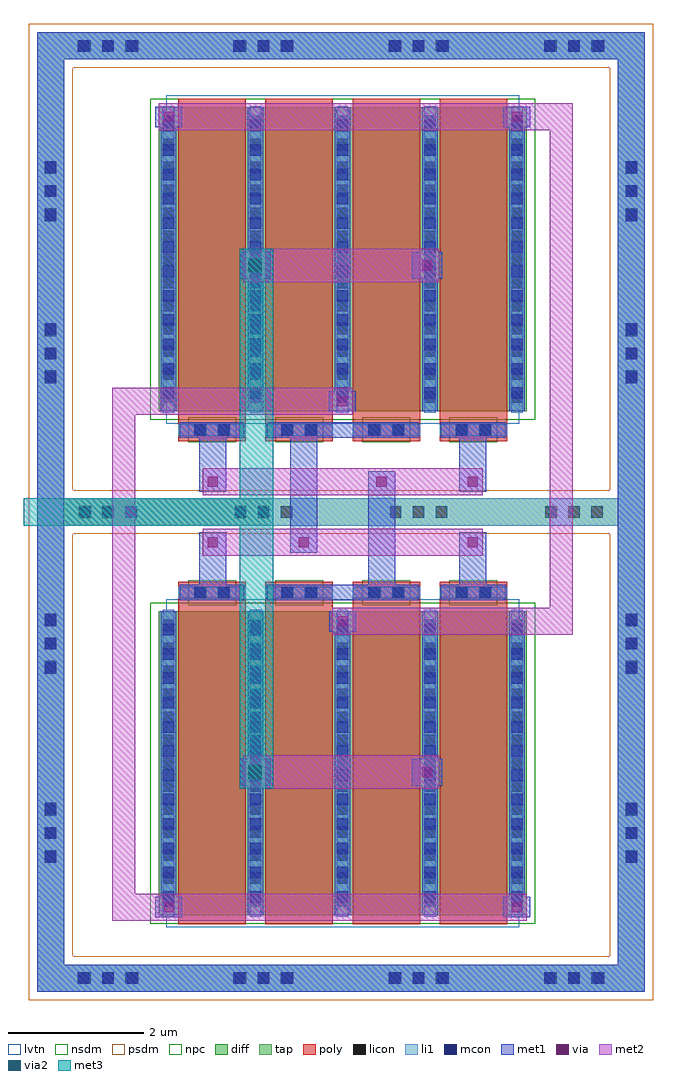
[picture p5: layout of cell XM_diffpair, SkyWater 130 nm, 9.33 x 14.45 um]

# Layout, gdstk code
import gdstk
lib = gdstk.Library(unit=1e-6, precision=1e-09)
def R(c, l, rs):  # rectangles x0, y0, x1, y1
    for r in rs: c.add(gdstk.rectangle(r[:2], r[2:], *l))
def A(c, l, x, y, w, h, nx, ny, dx, dy):  # array of equal rectangles
    R(c, l, [(x+i*dx, y+j*dy, x+i*dx+w, y+j*dy+h) for i in range(nx) for j in range(ny)])
diff = (65, 20)
tap = (65, 44)
poly = (66, 20)
licon = (66, 44)
li1 = (67, 20)
mcon = (67, 44)
met1 = (68, 20)
via = (68, 44)
met2 = (69, 20)
via2 = (69, 44)
met3 = (70, 20)
nsdm = (93, 44)
psdm = (94, 20)
npc = (95, 20)
lvtn = (125, 44)

sky130_fd_pr__nfet_01v8_ = lib.new_cell('sky130_fd_pr__nfet_01v8_lvt_E96B6C')
R(sky130_fd_pr__nfet_01v8_, diff, [(-2.725,-2.095,2.725,2.405)])
A(sky130_fd_pr__nfet_01v8_, poly, -2.435, -2.535, 1, 5.07, 4, 1, 1.29, 0)
A(sky130_fd_pr__nfet_01v8_, licon, -2.665, -1.97, 0.17, 0.17, 5, 13, 1.29, 0.34)
R(sky130_fd_pr__nfet_01v8_, licon, [(-2.19,-2.455,-2.02,-2.285), (-1.85,-2.455,-1.68,-2.285), (-0.9,-2.455,-0.73,-2.285), (-0.56,-2.455,-0.39,-2.285), (0.39,-2.455,0.56,-2.285), (0.73,-2.455,0.9,-2.285), (1.68,-2.455,1.85,-2.285), (2.02,-2.455,2.19,-2.285)])
A(sky130_fd_pr__nfet_01v8_, li1, -2.435, -2.455, 1, 0.17, 4, 1, 1.29, 0)
A(sky130_fd_pr__nfet_01v8_, li1, -2.665, -2.115, 0.17, 4.54, 5, 1, 1.29, 0)
A(sky130_fd_pr__nfet_01v8_, mcon, -2.665, -1.91, 0.17, 0.17, 5, 12, 1.29, 0.36)
R(sky130_fd_pr__nfet_01v8_, mcon, [(-2.2,-2.455,-2.03,-2.285), (-1.84,-2.455,-1.67,-2.285), (-0.91,-2.455,-0.74,-2.285), (-0.55,-2.455,-0.38,-2.285), (0.38,-2.455,0.55,-2.285), (0.74,-2.455,0.91,-2.285), (1.67,-2.455,1.84,-2.285), (2.03,-2.455,2.2,-2.285)])
A(sky130_fd_pr__nfet_01v8_, met1, -2.415, -2.485, 0.96, 0.23, 4, 1, 1.29, 0)
A(sky130_fd_pr__nfet_01v8_, met1, -2.695, -2.095, 0.23, 4.5, 5, 1, 1.29, 0)
R(sky130_fd_pr__nfet_01v8_, nsdm, [(-2.85,-2.22,2.85,2.53)])
A(sky130_fd_pr__nfet_01v8_, npc, -2.29, -2.555, 0.71, 0.37, 4, 1, 1.29, 0)
R(sky130_fd_pr__nfet_01v8_, lvtn, [(-2.615,-2.275,2.615,2.585)])

c_sky130_fd_pr__nfet_01v8_ = lib.new_cell('sky130_fd_pr__nfet_01v8_lvt_A5VCMN')
R(c_sky130_fd_pr__nfet_01v8_, diff, [(-2.725,-2.405,2.725,2.095)])
A(c_sky130_fd_pr__nfet_01v8_, poly, -2.435, -2.535, 1, 5.07, 4, 1, 1.29, 0)
A(c_sky130_fd_pr__nfet_01v8_, licon, -2.665, -2.28, 0.17, 0.17, 5, 13, 1.29, 0.34)
R(c_sky130_fd_pr__nfet_01v8_, licon, [(-2.19,2.285,-2.02,2.455), (-1.85,2.285,-1.68,2.455), (-0.9,2.285,-0.73,2.455), (-0.56,2.285,-0.39,2.455), (0.39,2.285,0.56,2.455), (0.73,2.285,0.9,2.455), (1.68,2.285,1.85,2.455), (2.02,2.285,2.19,2.455)])
A(c_sky130_fd_pr__nfet_01v8_, li1, -2.665, -2.425, 0.17, 4.54, 5, 1, 1.29, 0)
A(c_sky130_fd_pr__nfet_01v8_, li1, -2.435, 2.285, 1, 0.17, 4, 1, 1.29, 0)
A(c_sky130_fd_pr__nfet_01v8_, mcon, -2.665, -2.22, 0.17, 0.17, 5, 12, 1.29, 0.36)
R(c_sky130_fd_pr__nfet_01v8_, mcon, [(-2.2,2.285,-2.03,2.455), (-1.84,2.285,-1.67,2.455), (-0.91,2.285,-0.74,2.455), (-0.55,2.285,-0.38,2.455), (0.38,2.285,0.55,2.455), (0.74,2.285,0.91,2.455), (1.67,2.285,1.84,2.455), (2.03,2.285,2.2,2.455)])
A(c_sky130_fd_pr__nfet_01v8_, met1, -2.695, -2.405, 0.23, 4.5, 5, 1, 1.29, 0)
A(c_sky130_fd_pr__nfet_01v8_, met1, -2.415, 2.255, 0.96, 0.23, 4, 1, 1.29, 0)
R(c_sky130_fd_pr__nfet_01v8_, nsdm, [(-2.85,-2.53,2.85,2.22)])
A(c_sky130_fd_pr__nfet_01v8_, npc, -2.29, 2.185, 0.71, 0.37, 4, 1, 1.29, 0)
R(c_sky130_fd_pr__nfet_01v8_, lvtn, [(-2.615,-2.585,2.615,2.275)])

xm_diffpair = lib.new_cell('XM_diffpair')
A(xm_diffpair, tap, -1.6, -6.4, 9, 0.4, 1, 3, 0, 6.9)
R(xm_diffpair, tap, [(-1.6,-6,-1.2,0.5), (7,-6,7.4,0.5), (-1.6,0.9,-1.2,7.4), (7,0.9,7.4,7.4)])
A(xm_diffpair, licon, -0.975, -6.285, 0.17, 0.17, 3, 3, 0.34, 6.9)
A(xm_diffpair, licon, 1.325, -6.285, 0.17, 0.17, 3, 3, 0.34, 6.9)
A(xm_diffpair, licon, 3.625, -6.285, 0.17, 0.17, 3, 3, 0.34, 6.9)
A(xm_diffpair, licon, 5.925, -6.285, 0.17, 0.17, 3, 3, 0.34, 6.9)
A(xm_diffpair, licon, -1.485, -4.475, 0.17, 0.17, 1, 3, 0, 0.34)
A(xm_diffpair, licon, 7.115, -4.475, 0.17, 0.17, 1, 3, 0, 0.34)
A(xm_diffpair, licon, -1.485, -1.675, 0.17, 0.17, 1, 3, 0, 0.34)
A(xm_diffpair, licon, 7.115, -1.675, 0.17, 0.17, 1, 3, 0, 0.34)
A(xm_diffpair, licon, -1.485, 2.625, 0.17, 0.17, 1, 3, 0, 0.34)
A(xm_diffpair, licon, 7.115, 2.625, 0.17, 0.17, 1, 3, 0, 0.34)
A(xm_diffpair, licon, -1.485, 5.025, 0.17, 0.17, 1, 3, 0, 0.34)
A(xm_diffpair, licon, 7.115, 5.025, 0.17, 0.17, 1, 3, 0, 0.34)
A(xm_diffpair, li1, -1.6, -6.4, 9, 0.4, 1, 3, 0, 6.9)
R(xm_diffpair, li1, [(-1.6,-6,-1.2,0.5), (7,-6,7.4,0.5), (-1.6,0.9,-1.2,7.4), (7,0.9,7.4,7.4)])
A(xm_diffpair, mcon, -0.995, -6.285, 0.17, 0.17, 3, 2, 0.36, 13.8)
A(xm_diffpair, mcon, 1.305, -6.285, 0.17, 0.17, 3, 2, 0.36, 13.8)
A(xm_diffpair, mcon, 3.605, -6.285, 0.17, 0.17, 3, 2, 0.36, 13.8)
A(xm_diffpair, mcon, 5.905, -6.285, 0.17, 0.17, 3, 2, 0.36, 13.8)
A(xm_diffpair, mcon, -1.485, -4.495, 0.17, 0.17, 1, 3, 0, 0.36)
A(xm_diffpair, mcon, 7.115, -4.495, 0.17, 0.17, 1, 3, 0, 0.36)
A(xm_diffpair, mcon, -1.485, -1.695, 0.17, 0.17, 1, 3, 0, 0.36)
A(xm_diffpair, mcon, 7.115, -1.695, 0.17, 0.17, 1, 3, 0, 0.36)
A(xm_diffpair, mcon, -1.485, 2.605, 0.17, 0.17, 1, 3, 0, 0.36)
A(xm_diffpair, mcon, 7.115, 2.605, 0.17, 0.17, 1, 3, 0, 0.36)
A(xm_diffpair, mcon, -1.485, 5.005, 0.17, 0.17, 1, 3, 0, 0.36)
A(xm_diffpair, mcon, 7.115, 5.005, 0.17, 0.17, 1, 3, 0, 0.36)
R(xm_diffpair, met1, [(-1.6,-6.4,7.4,-6), (-1.6,-6,-1.2,7.4), (7,-6,7.4,7.4), (0.15,-5.3,0.55,-5), (5.3,-5.3,5.7,-5), (1.4,-3.35,1.85,-2.95), (3.95,-3.35,4.4,-2.95), (2.725,-1.07,3.125,-0.77), (2.755,-0.61,3.095,-0.38), (0.8,-0.6,1.2,0.4), (3.3,-0.6,3.7,1.3), (4.65,-0.6,5.05,0.4), (2.15,0.1,2.55,2), (0.8,1,1.2,2), (4.65,1,5.05,2), (2.755,1.8,3.095,2.03), (2.72,2.19,3.12,2.49), (1.4,4.15,1.85,4.55), (3.95,4.15,4.4,4.55), (0.15,6.4,0.55,6.7), (5.3,6.4,5.7,6.7), (-1.6,7.4,7.4,7.8)])
R(xm_diffpair, via, [(0.275,-5.225,0.425,-5.075), (5.425,-5.225,5.575,-5.075), (1.55,-3.225,1.7,-3.075), (4.1,-3.225,4.25,-3.075), (2.85,-0.995,3,-0.845), (0.925,0.175,1.075,0.325), (2.275,0.175,2.425,0.325), (4.775,0.175,4.925,0.325), (0.925,1.075,1.075,1.225), (3.425,1.075,3.575,1.225), (4.775,1.075,4.925,1.225), (2.845,2.265,2.995,2.415), (1.55,4.275,1.7,4.425), (4.1,4.275,4.25,4.425), (0.275,6.475,0.425,6.625), (5.425,6.475,5.575,6.625)])
R(xm_diffpair, met2, [(-0.49,-5.35,5.65,-4.95), (-0.49,-4.95,-0.15,2.14), (1.45,-3.4,4.35,-2.9), (2.77,-1.12,6.33,-0.72), (5.99,-0.72,6.33,6.35), (0.85,0.05,5,0.45), (0.85,0.95,5,1.35), (-0.49,2.14,3.07,2.54), (1.45,4.1,4.35,4.6), (0.2,6.35,6.33,6.75)])
R(xm_diffpair, via2, [(1.525,-3.25,1.725,-3.05), (1.525,4.25,1.725,4.45)])
R(xm_diffpair, met3, [(1.4,-3.4,1.9,0.5), (-1.8,0.5,1.9,0.9), (1.4,0.9,1.9,4.6)])
A(xm_diffpair, psdm, -1.725, -6.525, 9.25, 0.65, 1, 3, 0, 6.9)
R(xm_diffpair, psdm, [(-1.725,-5.875,-1.075,0.375), (6.875,-5.875,7.525,0.375), (-1.725,1.025,-1.075,7.275), (6.875,1.025,7.525,7.275)])
xm_diffpair.add(gdstk.Reference(sky130_fd_pr__nfet_01v8_, (2.925,4.285)))
xm_diffpair.add(gdstk.Reference(c_sky130_fd_pr__nfet_01v8_, (2.925,-2.865)))

lib.write_gds('XM_diffpair.gds')
